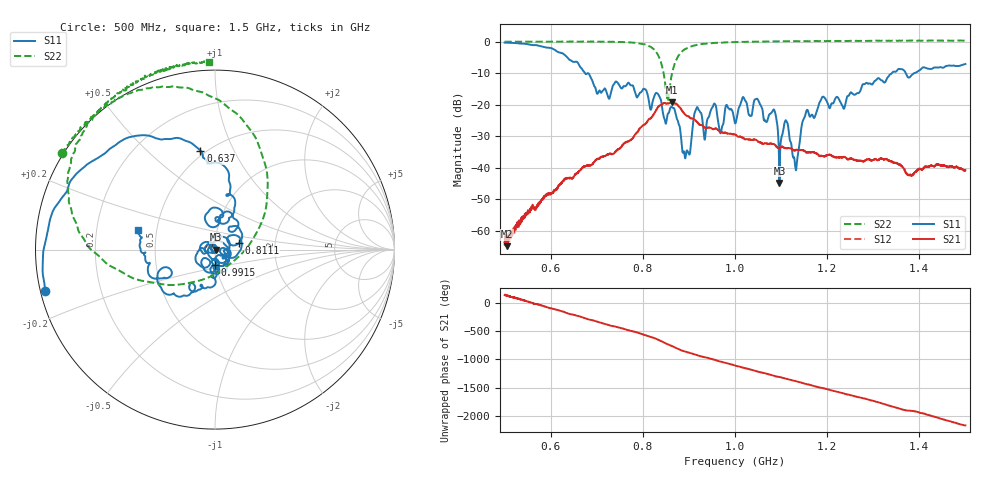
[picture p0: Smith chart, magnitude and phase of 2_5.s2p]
!Keysight Technologies,N5242B,MY48420860,A.13.80.08
!Date: Saturday, September 26, 2020 13:02:26
!Correction: S11(Full 2 Port(1,2))
!S21(Full 2 Port(1,2))
!S12(Full 2 Port(1,2))
!S22(Full 2 Port(1,2))
!S2P File: Measurements: S11, S21, S12, S22:
# Hz S  dB  R 50
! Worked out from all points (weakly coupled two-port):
!   2650 points, 500 MHz to 1.5 GHz, reference 50 ohm
!   highest |S21| = -19.26 dB at 863.2 MHz (marker M1); lowest = -64.9 dB at 504.2 MHz (marker M2)
!   lowest |S11| = -44.8 dB at 1.096 GHz (marker M3), VSWR 1.01, Z = 50.6 - j0.0469 ohm
!   |S11| at or under -10 dB: 674.8 MHz to 679.3 MHz (4.496 MHz wide, 0.664 % of centre); 681.9 MHz to 1.34 GHz (658.2 MHz wide, 65.1 % of centre); 1.371 GHz to 1.388 GHz (17.08 MHz wide, 1.24 % of centre)
!   |S22| runs from -18.9 to 0.4 dB; largest |S21 - S12| = 0.00049
!   S11 on the Smith chart (normalised r, x): 500 MHz: 0.01, -0.12; 637 MHz: 0.47, +0.75; 811.1 MHz: 1.30, +0.10; 991.5 MHz: 0.98, -0.17; 1.5 GHz: 0.39, +0.11
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5e8  -0.23 -166.2  -63.59 139.5  -64.59 138.8  0.05 147.8
5.041525e8  -0.27 -168.4  -64.92 140.3  -63.59 138.9  0.04 147.6
6.370328e8  -5.08 98.4  -43.20 174.7  -43.32 174.9  0.04 136.2
6.668554e8  -8.40 77.6  -40.32 111.0  -40.38 110.0  0.07 133.1
8.110608e8  -17.17 15.2  -24.96 135.1  -24.98 134.9  -1.16 94.0
8.337108e8  -16.75 2.1  -20.58 65.7  -20.60 65.6  -4.40 64.9
8.529634e8  -23.53 3.3  -19.58 -8.5  -19.59 -8.5  -18.47 -34.7
8.631559e8  -20.69 -30.6  -19.26 -45.1  -19.29 -45.2  -10.09 -140.9
8.907135e8  -36.07 13.6  -22.97 -139.6  -22.99 -139.6  -2.37 172.9
9.16761e8  -20.96 47.7  -25.34 155.5  -25.34 155.3  -0.96 156.3
9.345036e8  -31.09 -5.9  -27.32 117.7  -27.30 117.8  -0.60 149.8
9.915062e8  -21.34 -91.2  -29.22 -8.5  -29.24 -8.4  -0.12 137.5
1.000189e9  -25.87 -93.1  -29.46 -29.4  -29.47 -29.4  -0.07 136.3
1.047754e9  -18.05 -146.6  -31.38 -133.3  -31.38 -133.4  0.07 130.4
1.085504e9  -21.77 159.7  -32.56 146.0  -32.53 146.1  0.16 126.4
1.096451e9  -44.79 -4.6  -33.79 126.4  -33.77 126.2  0.15 125.3
1.111174e9  -25.10 165.0  -33.78 95.8  -33.77 95.5  0.16 123.8
1.131937e9  -40.76 -15.7  -34.33 53.5  -34.32 53.7  0.22 122.1
1.150812e9  -24.01 24.5  -34.66 10.1  -34.74 10.2  0.22 120.5
1.166667e9  -23.14 -42.7  -35.08 -20.4  -35.09 -20.4  0.20 118.9
1.333522e9  -10.95 -119.2  -37.59 -17.6  -37.62 -17.6  0.38 105.5
1.5e9  -7.05 165.4  -40.73 -11.3  -40.78 -11.1  0.40 91.9
